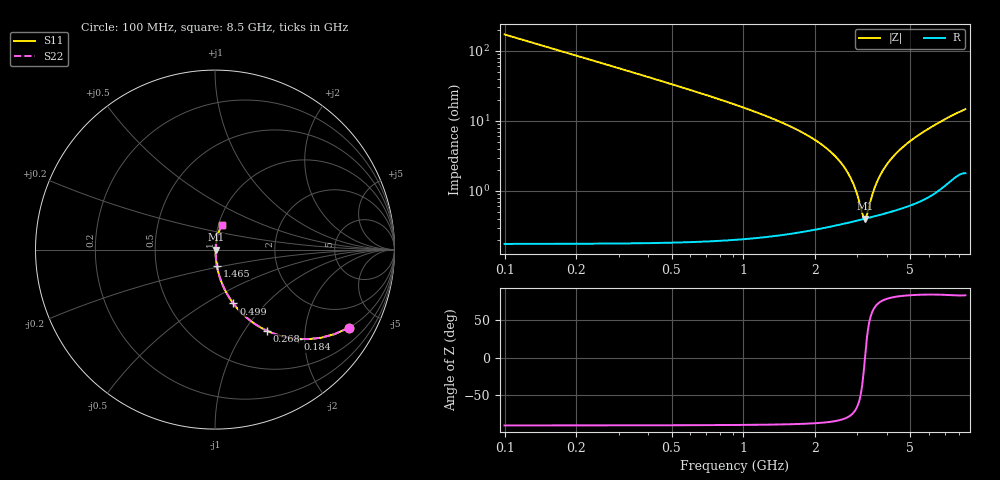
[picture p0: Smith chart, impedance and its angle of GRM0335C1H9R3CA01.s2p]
!Murata Part Number: GRM0335C1H9R3CA01
!These Parameters are Measured in Series Mode Connection
!Data Generated on Mar 30, 2021
!  o--ll--o
!Port1  Port2
!  o------o
!Operation Temp=25[degC], DC Bias Voltage=0[V]
!Freq. Start=100[MHz] Stop=9[GHz] 401[Steps]
# Hz S RI R 50
!Freq.(Hz) S11(Real) S11(Imag) S21(Real) S21(Imag) S12(Real) S12(Imag) S22(Real) S22(Imag)
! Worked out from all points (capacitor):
!   401 points, 100 MHz to 8.5 GHz, reference 50 ohm
!   read as one part in series: C = 9.3 pF near 142 MHz
!   lowest |Z| = 401 mohm at 3.229 GHz (marker M1)
!   series resonance near 3.228 GHz, so ESL is about 260 pH
!   S11 on the Smith chart (normalised r, x): 100 MHz: 1.00, -3.42; 184 MHz: 1.00, -1.85; 268 MHz: 1.00, -1.27; 499 MHz: 1.00, -0.67; 1.465 GHz: 1.00, -0.19; 8.5 GHz: 1.04, +0.29
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1e8  0.7449 -0.4354  0.2551 0.4354  0.2551 0.4354  0.7449 -0.4354
1.84e8  0.4623 -0.4976  0.5377 0.4976  0.5377 0.4976  0.4623 -0.4976
2.68e8  0.2874 -0.4511  0.7126 0.4511  0.7126 0.4511  0.2874 -0.4511
3.73e8  0.1711 -0.3746  0.8289 0.3746  0.8289 0.3746  0.1711 -0.3746
4.99e8  0.1021 -0.3001  0.8979 0.3001  0.8979 0.3001  0.1021 -0.3001
8.77e8  0.0335 -0.1745  0.9665 0.1745  0.9665 0.1745  0.0335 -0.1745
1.465e9  0.0109 -0.0918  0.9891 0.0918  0.9891 0.0918  0.0109 -0.0918
1.507e9  0.0102 -0.0879  0.9898 0.0879  0.9898 0.0879  0.0102 -0.0879
2.41e9  0.00417 -0.0315  0.9958 0.0315  0.9958 0.0315  0.00417 -0.0315
2.704e9  0.00382 -0.019  0.9962 0.019  0.9962 0.019  0.00382 -0.019
2.914e9  0.00379 -0.0109  0.9962 0.0109  0.9962 0.0109  0.00379 -0.0109
3.166e9  0.00393 -0.00207  0.9961 0.00207  0.9961 0.00207  0.00393 -0.00207
3.229e9  0.004 4.67e-05  0.996 -4.67e-05  0.996 -4.67e-05  0.004 4.67e-05
3.292e9  0.00407 0.00212  0.9959 -0.00212  0.9959 -0.00212  0.00407 0.00212
3.502e9  0.00436 0.00881  0.9956 -0.00881  0.9956 -0.00881  0.00436 0.00881
3.691e9  0.0047 0.0146  0.9953 -0.0146  0.9953 -0.0146  0.0047 0.0146
3.964e9  0.00531 0.0225  0.9947 -0.0225  0.9947 -0.0225  0.00531 0.0225
4.3e9  0.00622 0.0319  0.9938 -0.0319  0.9938 -0.0319  0.00622 0.0319
4.909e9  0.00835 0.0481  0.9916 -0.0481  0.9916 -0.0481  0.00835 0.0481
5.707e9  0.0122 0.0688  0.9878 -0.0688  0.9878 -0.0688  0.0122 0.0688
7.114e9  0.0236 0.1047  0.9764 -0.1047  0.9764 -0.1047  0.0236 0.1047
8.5e9  0.0374 0.1379  0.9626 -0.1379  0.9626 -0.1379  0.0374 0.1379
